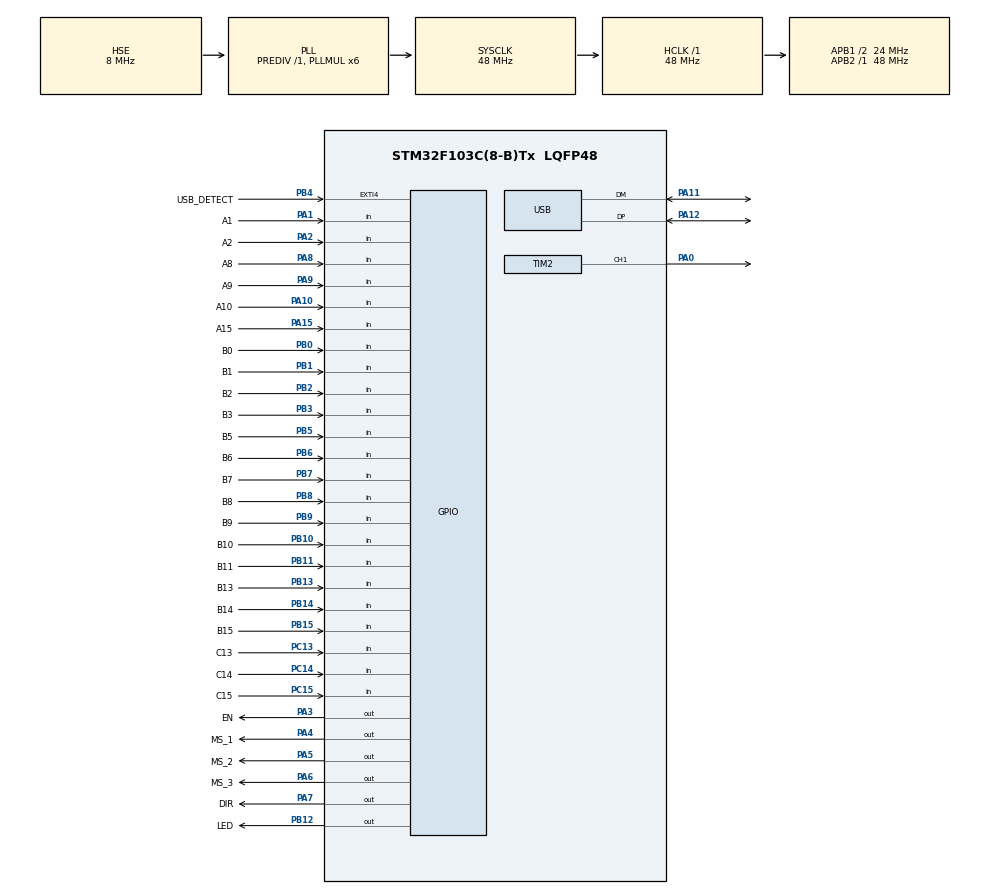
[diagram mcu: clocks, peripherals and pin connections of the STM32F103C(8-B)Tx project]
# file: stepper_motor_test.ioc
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Mcu.Family=STM32F1
Mcu.Name=STM32F103C(8-B)Tx
Mcu.Package=LQFP48
NVIC.EXTI4_IRQn=true\:0\:0\:false\:false\:true\:true\:true\:true
NVIC.PriorityGroup=NVIC_PRIORITYGROUP_4
NVIC.TIM2_IRQn=true\:0\:0\:false\:false\:true\:true\:true\:true
NVIC.USB_LP_CAN1_RX0_IRQn=true\:0\:0\:false\:false\:true\:false\:true\:true
PA0-WKUP.Signal=S_TIM2_CH1_ETR
PA1.GPIO_Label=A1
PA1.GPIO_PuPd=GPIO_PULLDOWN
PA1.Signal=GPIO_Input
PA10.GPIO_Label=A10
PA10.GPIO_PuPd=GPIO_PULLDOWN
PA10.Signal=GPIO_Input
PA11.Mode=Device
PA11.Signal=USB_DM
PA12.Mode=Device
PA12.Signal=USB_DP
PA13.Mode=Serial_Wire
PA13.Signal=SYS_JTMS-SWDIO
PA14.Mode=Serial_Wire
PA14.Signal=SYS_JTCK-SWCLK
PA15.GPIO_Label=A15
PA15.GPIO_PuPd=GPIO_PULLDOWN
PA15.Signal=GPIO_Input
PA2.GPIO_Label=A2
PA2.GPIO_PuPd=GPIO_PULLDOWN
PA2.Signal=GPIO_Input
PA3.GPIO_Label=EN
PA3.PinState=GPIO_PIN_SET
PA3.Signal=GPIO_Output
PA4.GPIO_Label=MS_1
PA4.Signal=GPIO_Output
PA5.GPIO_Label=MS_2
PA5.Signal=GPIO_Output
PA6.GPIO_Label=MS_3
PA6.Signal=GPIO_Output
PA7.GPIO_Label=DIR
PA7.Signal=GPIO_Output
PA8.GPIO_Label=A8
PA8.GPIO_PuPd=GPIO_PULLDOWN
PA8.Signal=GPIO_Input
PA9.GPIO_Label=A9
PA9.GPIO_PuPd=GPIO_PULLDOWN
PA9.Signal=GPIO_Input
PB0.GPIO_Label=B0
PB0.GPIO_PuPd=GPIO_PULLDOWN
PB0.Signal=GPIO_Input
PB1.GPIO_Label=B1
PB1.GPIO_PuPd=GPIO_PULLDOWN
PB1.Signal=GPIO_Input
PB10.GPIO_Label=B10
PB10.GPIO_PuPd=GPIO_PULLDOWN
PB10.Signal=GPIO_Input
PB11.GPIO_Label=B11
PB11.GPIO_PuPd=GPIO_PULLDOWN
PB11.Signal=GPIO_Input
PB12.GPIO_Label=LED
PB12.PinState=GPIO_PIN_SET
PB12.Signal=GPIO_Output
PB13.GPIO_Label=B13
PB13.GPIO_PuPd=GPIO_PULLDOWN
PB13.Signal=GPIO_Input
PB14.GPIO_Label=B14
PB14.GPIO_PuPd=GPIO_PULLDOWN
PB14.Signal=GPIO_Input
PB15.GPIO_Label=B15
PB15.GPIO_PuPd=GPIO_PULLDOWN
PB15.Signal=GPIO_Input
PB2.GPIO_Label=B2
PB2.GPIO_PuPd=GPIO_PULLDOWN
PB2.Signal=GPIO_Input
PB3.GPIO_Label=B3
PB3.GPIO_PuPd=GPIO_PULLDOWN
PB3.Signal=GPIO_Input
PB4.GPIO_Label=USB_DETECT
PB4.GPIO_ModeDefaultEXTI=GPIO_MODE_IT_FALLING
PB4.GPIO_PuPd=GPIO_PULLDOWN
PB4.Signal=GPXTI4
PB5.GPIO_Label=B5
PB5.GPIO_PuPd=GPIO_PULLDOWN
PB5.Signal=GPIO_Input
PB6.GPIO_Label=B6
PB6.GPIO_PuPd=GPIO_PULLDOWN
PB6.Signal=GPIO_Input
PB7.GPIO_Label=B7
PB7.GPIO_PuPd=GPIO_PULLDOWN
PB7.Signal=GPIO_Input
PB8.GPIO_Label=B8
PB8.GPIO_PuPd=GPIO_PULLDOWN
PB8.Signal=GPIO_Input
PB9.GPIO_Label=B9
PB9.GPIO_PuPd=GPIO_PULLDOWN
PB9.Signal=GPIO_Input
PC13-TAMPER-RTC.GPIO_Label=C13
PC13-TAMPER-RTC.GPIO_PuPd=GPIO_PULLDOWN
PC13-TAMPER-RTC.Signal=GPIO_Input
PC14-OSC32_IN.GPIO_Label=C14
PC14-OSC32_IN.GPIO_PuPd=GPIO_PULLDOWN
PC14-OSC32_IN.Signal=GPIO_Input
PC15-OSC32_OUT.GPIO_Label=C15
PC15-OSC32_OUT.GPIO_PuPd=GPIO_PULLDOWN
PC15-OSC32_OUT.Signal=GPIO_Input
PD0-OSC_IN.Mode=HSE-External-Oscillator
PD0-OSC_IN.Signal=RCC_OSC_IN
PD1-OSC_OUT.Mode=HSE-External-Oscillator
PD1-OSC_OUT.Signal=RCC_OSC_OUT
ProjectManager.HeapSize=0x200
ProjectManager.StackSize=0x400
ProjectManager.TargetToolchain=STM32CubeIDE
RCC.AHBFreq_Value=48000000
RCC.APB1CLKDivider=RCC_HCLK_DIV2
RCC.APB1Freq_Value=24000000
RCC.APB1TimFreq_Value=48000000
RCC.APB2Freq_Value=48000000
RCC.APB2TimFreq_Value=48000000
RCC.EnbaleCSS=true
RCC.HCLKFreq_Value=48000000
RCC.PLLMUL=RCC_PLL_MUL6
RCC.PLLSourceVirtual=RCC_PLLSOURCE_HSE
RCC.SYSCLKFreq_VALUE=48000000
RCC.SYSCLKSource=RCC_SYSCLKSOURCE_PLLCLK
RCC.USBFreq_Value=48000000
SH.S_TIM2_CH1_ETR.0=TIM2_CH1,Output Compare1 CH1
TIM2.AutoReloadPreload=TIM_AUTORELOAD_PRELOAD_ENABLE
TIM2.Channel-Output\ Compare1\ CH1=TIM_CHANNEL_1
TIM2.CounterMode=TIM_COUNTERMODE_DOWN
TIM2.OC1Preload=DISABLE
TIM2.OCMode_1=TIM_OCMODE_TOGGLE
TIM2.OCPolarity_1=TIM_OCPOLARITY_LOW
TIM2.Period=1000-1
TIM2.Prescaler=48000-1
TIM2.Pulse-Output\ Compare1\ CH1=0
USB_DEVICE.CLASS_NAME_FS=CUSTOM_HID
USB_DEVICE.PID_CUSTOMHID_FS=22348
USB_DEVICE.PRODUCT_STRING_CUSTOMHID_FS=stepper_motor_test
USB_DEVICE.USBD_CUSTOMHID_OUTREPORT_BUF_SIZE=8
USB_DEVICE.USBD_CUSTOM_HID_REPORT_DESC_SIZE=27
USB_DEVICE.VID=1148
USB_DEVICE.VirtualMode=CustomHid
USB_DEVICE.VirtualModeFS=Custom_Hid_FS
VP_USB_DEVICE_VS_USB_DEVICE_CUSTOM_HID_FS.Mode=CUSTOM_HID_FS
board=custom

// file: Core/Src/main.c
/* USER CODE BEGIN Header */
/**
 ******************************************************************************
 * @file           : main.c
 * @brief          : Main program body
 ******************************************************************************
 * @attention
 *
 * Copyright (c) 2023 STMicroelectronics.
 * All rights reserved.
 *
 * This software is licensed under terms that can be found in the LICENSE file
 * in the root directory of this software component.
 * If no LICENSE file comes with this software, it is provided AS-IS.
 *
 ******************************************************************************
 */
/* USER CODE END Header */
#include "main.h"
#include "usb_device.h"

/* USER CODE BEGIN Includes */
#include "usbd_customhid.h"
#include <stdbool.h>
/* USER CODE END Includes */

TIM_HandleTypeDef htim2;

/* USER CODE BEGIN PV */
extern USBD_HandleTypeDef hUsbDeviceFS;
// Флаг готовности полученных с хоста данных
extern volatile bool isReceived;
// Структура для сохранения reportId и массива данных
extern struct HIDDataPacket data;

// Отслеживаем разрыв соединения по USB
// Флаг устанавливается в true при сбросе напряжения в 0 на разъёме USB
volatile bool isDisconnected = false;
volatile uint32_t time_exti4 = 0;

// Количество шагов двигателя
volatile int16_t stepsCount = 400;
// Флаг завершения одного оборота двигателя
volatile bool isTurnComplete = false;
uint8_t sendReportId5[5] = { 5 };
// Массив из значения тактовой частоты
uint8_t sendReportId7[5] = { 7 };
/* USER CODE END PV */

void SystemClock_Config(void);
static void MX_GPIO_Init(void);
static void MX_TIM2_Init(void);
/* USER CODE BEGIN PFP */
static void parseReportId(void);
static void isDisconnectUSB(void);
/* USER CODE END PFP */

int main(void)
{

  /* MCU Configuration--------------------------------------------------------*/

  /* Reset of all peripherals, Initializes the Flash interface and the Systick. */
  HAL_Init();

  /* Configure the system clock */
  SystemClock_Config();

  /* Initialize all configured peripherals */
  MX_GPIO_Init();
  MX_TIM2_Init();
  MX_USB_DEVICE_Init();
  /* USER CODE BEGIN 2 */
  // Получаем значение тактовой частоты
  uint32_t sysclk = SystemCoreClock;
  // Формируем массив из значения тактовой частоты
  sendReportId7[1] = sysclk >> 24 & 0xFF;
  sendReportId7[2] = sysclk >> 16 & 0xFF;
  sendReportId7[3] = sysclk >> 8 & 0xFF;
  sendReportId7[4] = sysclk & 0xFF;
  /* USER CODE END 2 */

  /* Infinite loop */
  /* USER CODE BEGIN WHILE */
  while (1) {
    if (isReceived) {
      // С хоста получили данные, обрабатываем в зависимости от переданного ReportId
      parseReportId();
    }

    if (isTurnComplete) {
      isTurnComplete = false;
      // Один оборот завершён, выключаем таймер
      HAL_TIM_OC_Stop_IT(&htim2, TIM_CHANNEL_1);
      // Выключаем драйвер A4988, установив на выводе EN единицу
      HAL_GPIO_WritePin(EN_GPIO_Port, EN_Pin, GPIO_PIN_SET);
      // Отправляем на хост уведомление
      USBD_CUSTOM_HID_SendReport(&hUsbDeviceFS, sendReportId5, 5);
    }

    if (isDisconnected && (HAL_GetTick() - time_exti4) > 200) {
      // Произошла потеря питания линии USB
      isDisconnectUSB();
    }
    /* USER CODE END WHILE */

  }
}

void SystemClock_Config(void)
{
  RCC_OscInitTypeDef RCC_OscInitStruct = { 0 };
  RCC_ClkInitTypeDef RCC_ClkInitStruct = { 0 };
  RCC_PeriphCLKInitTypeDef PeriphClkInit = { 0 };

  /** Initializes the RCC Oscillators according to the specified parameters
   * in the RCC_OscInitTypeDef structure.
   */
  RCC_OscInitStruct.OscillatorType = RCC_OSCILLATORTYPE_HSE;
  RCC_OscInitStruct.HSEState = RCC_HSE_ON;
  RCC_OscInitStruct.HSEPredivValue = RCC_HSE_PREDIV_DIV1;
  RCC_OscInitStruct.HSIState = RCC_HSI_ON;
  RCC_OscInitStruct.PLL.PLLState = RCC_PLL_ON;
  RCC_OscInitStruct.PLL.PLLSource = RCC_PLLSOURCE_HSE;
  RCC_OscInitStruct.PLL.PLLMUL = RCC_PLL_MUL6;
  if (HAL_RCC_OscConfig(&RCC_OscInitStruct) != HAL_OK) {
    Error_Handler();
  }

  /** Initializes the CPU, AHB and APB buses clocks
   */
  RCC_ClkInitStruct.ClockType = RCC_CLOCKTYPE_HCLK | RCC_CLOCKTYPE_SYSCLK | RCC_CLOCKTYPE_PCLK1 | RCC_CLOCKTYPE_PCLK2;
  RCC_ClkInitStruct.SYSCLKSource = RCC_SYSCLKSOURCE_PLLCLK;
  RCC_ClkInitStruct.AHBCLKDivider = RCC_SYSCLK_DIV1;
  RCC_ClkInitStruct.APB1CLKDivider = RCC_HCLK_DIV2;
  RCC_ClkInitStruct.APB2CLKDivider = RCC_HCLK_DIV1;

  if (HAL_RCC_ClockConfig(&RCC_ClkInitStruct, FLASH_LATENCY_1) != HAL_OK) {
    Error_Handler();
  }
  PeriphClkInit.PeriphClockSelection = RCC_PERIPHCLK_USB;
  PeriphClkInit.UsbClockSelection = RCC_USBCLKSOURCE_PLL;
  if (HAL_RCCEx_PeriphCLKConfig(&PeriphClkInit) != HAL_OK) {
    Error_Handler();
  }

  /** Enables the Clock Security System
   */
  HAL_RCC_EnableCSS();
}

static void MX_TIM2_Init(void)
{

  TIM_MasterConfigTypeDef sMasterConfig = { 0 };
  TIM_OC_InitTypeDef sConfigOC = { 0 };

  htim2.Instance = TIM2;
  htim2.Init.Prescaler = 48000 - 1;
  htim2.Init.CounterMode = TIM_COUNTERMODE_DOWN;
  htim2.Init.Period = 1000 - 1;
  htim2.Init.ClockDivision = TIM_CLOCKDIVISION_DIV1;
  htim2.Init.AutoReloadPreload = TIM_AUTORELOAD_PRELOAD_ENABLE;
  if (HAL_TIM_OC_Init(&htim2) != HAL_OK) {
    Error_Handler();
  }
  sMasterConfig.MasterOutputTrigger = TIM_TRGO_RESET;
  sMasterConfig.MasterSlaveMode = TIM_MASTERSLAVEMODE_DISABLE;
  if (HAL_TIMEx_MasterConfigSynchronization(&htim2, &sMasterConfig) != HAL_OK) {
    Error_Handler();
  }
  sConfigOC.OCMode = TIM_OCMODE_TOGGLE;
  sConfigOC.Pulse = 0;
  sConfigOC.OCPolarity = TIM_OCPOLARITY_LOW;
  sConfigOC.OCFastMode = TIM_OCFAST_DISABLE;
  if (HAL_TIM_OC_ConfigChannel(&htim2, &sConfigOC, TIM_CHANNEL_1) != HAL_OK) {
    Error_Handler();
  }
  HAL_TIM_MspPostInit(&htim2);

}

static void MX_GPIO_Init(void)
{
  GPIO_InitTypeDef GPIO_InitStruct = { 0 };

  /* GPIO Ports Clock Enable */
  __HAL_RCC_GPIOC_CLK_ENABLE();
  __HAL_RCC_GPIOD_CLK_ENABLE();
  __HAL_RCC_GPIOA_CLK_ENABLE();
  __HAL_RCC_GPIOB_CLK_ENABLE();

  /*Configure GPIO pin Output Level */
  HAL_GPIO_WritePin(EN_GPIO_Port, EN_Pin, GPIO_PIN_SET);

  /*Configure GPIO pin Output Level */
  HAL_GPIO_WritePin(GPIOA, MS_1_Pin | MS_2_Pin | MS_3_Pin | DIR_Pin, GPIO_PIN_RESET);

  /*Configure GPIO pin Output Level */
  HAL_GPIO_WritePin(LED_GPIO_Port, LED_Pin, GPIO_PIN_SET);

  /*Configure GPIO pins : C13_Pin C14_Pin C15_Pin */
  GPIO_InitStruct.Pin = C13_Pin | C14_Pin | C15_Pin;
  GPIO_InitStruct.Mode = GPIO_MODE_INPUT;
  GPIO_InitStruct.Pull = GPIO_PULLDOWN;
  HAL_GPIO_Init(GPIOC, &GPIO_InitStruct);

  /*Configure GPIO pins : A1_Pin A2_Pin A8_Pin A9_Pin
   A10_Pin A15_Pin */
  GPIO_InitStruct.Pin = A1_Pin | A2_Pin | A8_Pin | A9_Pin | A10_Pin | A15_Pin;
  GPIO_InitStruct.Mode = GPIO_MODE_INPUT;
  GPIO_InitStruct.Pull = GPIO_PULLDOWN;
  HAL_GPIO_Init(GPIOA, &GPIO_InitStruct);

  /*Configure GPIO pins : EN_Pin MS_1_Pin MS_2_Pin MS_3_Pin
   DIR_Pin */
  GPIO_InitStruct.Pin = EN_Pin | MS_1_Pin | MS_2_Pin | MS_3_Pin | DIR_Pin;
  GPIO_InitStruct.Mode = GPIO_MODE_OUTPUT_PP;
  GPIO_InitStruct.Pull = GPIO_NOPULL;
  GPIO_InitStruct.Speed = GPIO_SPEED_FREQ_LOW;
  HAL_GPIO_Init(GPIOA, &GPIO_InitStruct);

  /*Configure GPIO pins : B0_Pin B1_Pin B2_Pin B10_Pin
   B11_Pin B13_Pin B14_Pin B15_Pin
   B3_Pin B5_Pin B6_Pin B7_Pin
   B8_Pin B9_Pin */
  GPIO_InitStruct.Pin = B0_Pin | B1_Pin | B2_Pin | B10_Pin | B11_Pin | B13_Pin | B14_Pin | B15_Pin | B3_Pin | B5_Pin | B6_Pin | B7_Pin | B8_Pin | B9_Pin;
  GPIO_InitStruct.Mode = GPIO_MODE_INPUT;
  GPIO_InitStruct.Pull = GPIO_PULLDOWN;
  HAL_GPIO_Init(GPIOB, &GPIO_InitStruct);

  /*Configure GPIO pin : LED_Pin */
  GPIO_InitStruct.Pin = LED_Pin;
  GPIO_InitStruct.Mode = GPIO_MODE_OUTPUT_PP;
  GPIO_InitStruct.Pull = GPIO_NOPULL;
  GPIO_InitStruct.Speed = GPIO_SPEED_FREQ_LOW;
  HAL_GPIO_Init(LED_GPIO_Port, &GPIO_InitStruct);

  /*Configure GPIO pin : USB_DETECT_Pin */
  GPIO_InitStruct.Pin = USB_DETECT_Pin;
  GPIO_InitStruct.Mode = GPIO_MODE_IT_FALLING;
  GPIO_InitStruct.Pull = GPIO_PULLDOWN;
  HAL_GPIO_Init(USB_DETECT_GPIO_Port, &GPIO_InitStruct);

  /* EXTI interrupt init*/
  HAL_NVIC_SetPriority(EXTI4_IRQn, 0, 0);
  HAL_NVIC_EnableIRQ(EXTI4_IRQn);

  /* USER CODE BEGIN MX_GPIO_Init_2 */
  // Устанавливаем пин DP как выход
  GPIO_InitStruct.Pin = GPIO_PIN_12;
  GPIO_InitStruct.Mode = GPIO_MODE_OUTPUT_PP;
  GPIO_InitStruct.Speed = GPIO_SPEED_FREQ_LOW;
  HAL_GPIO_Init(GPIOA, &GPIO_InitStruct);
  // Подтягиваем пин DP к GND
  HAL_GPIO_WritePin(GPIOA, GPIO_PIN_12, GPIO_PIN_RESET);
  // Задержка для завершения процессов на хосте
  for (uint16_t i = 0; i < 1000; i++);

  // Переинициализируем пин DP для работы с USB
  GPIO_InitStruct.Mode = GPIO_MODE_INPUT;
  GPIO_InitStruct.Pull = GPIO_NOPULL;
  HAL_GPIO_Init(GPIOA, &GPIO_InitStruct);
  // Задержка для завершения процессов на хосте
  for (uint16_t i = 0; i < 1000; i++);

  /* USER CODE END MX_GPIO_Init_2 */
}

/* USER CODE BEGIN 4 */
void HAL_TIM_OC_DelayElapsedCallback(TIM_HandleTypeDef *htim)
{
  // Сначала выполним проверку, может быть другой таймер или канал
  if (htim->Instance == TIM2 && htim->Channel == HAL_TIM_ACTIVE_CHANNEL_1) {
    if (stepsCount-- < 0) {
      // Один оборот заверён
      isTurnComplete = true;
    }
  }
}

void HAL_GPIO_EXTI_Callback(uint16_t GPIO_Pin)
{
  if (GPIO_Pin == USB_DETECT_Pin) {
    // Сразу же отключаем внешнее прерывания EXTI4
    HAL_NVIC_DisableIRQ(EXTI4_IRQn);
    // Устанавливаем флаг и сохраняем текущее время
    isDisconnected = true;
    time_exti4 = HAL_GetTick();
  }
}

static void parseReportId(void)
{
  isReceived = false;

  switch (data.reportId) {
    case 1:
      // Команда на остановку двигателя
      if ((&htim2)->ChannelState[0] == HAL_TIM_CHANNEL_STATE_BUSY) {
        // TIM_CHANNEL_1 работает, останавливаем его

        // Проверка наличия обработчика прерывания для таймера
        if (__HAL_TIM_GET_IT_SOURCE(&htim2, TIM_IT_CC1) == SET) {
          // Обработчик прерывания установлен, таймер работает в режиме с прерыванием
          HAL_TIM_OC_Stop_IT(&htim2, TIM_CHANNEL_1);
        } else {
          // Обработчик прерывания не установлен, таймер работает без прерывания
          HAL_TIM_OC_Stop(&htim2, TIM_CHANNEL_1);
        }

        // Выключаем драйвер A4988, установив на выводе EN единицу
        HAL_GPIO_WritePin(EN_GPIO_Port, EN_Pin, GPIO_PIN_SET);
      }
      break;
    case 2:
      // Двигатель вращается, изменяем значение регистра ARR
      TIM2->ARR = (data.dataToReceive[0] << 8 | data.dataToReceive[1]);
      break;
    case 3:
      // Один оборот вала двигателя
      // Для этого режима нам необходимо установить количество шагов двигателя
      // на основании этого значения мы будем отслеживать один оборот вала
      // Дополнительно умножаем количество шагов двигателя на 2, т.к. ARR составляет половину периода
      switch (data.dataToReceive[2]) {
        case 0:
          stepsCount = 400 << 1;
          break;
        case 1:
          stepsCount = 200 << 1;
          break;
        case 2:
          stepsCount = 100 << 1;
          break;
        case 3:
          stepsCount = 64 << 1;
          break;
        case 4:
          stepsCount = 48 << 1;
          break;
      }
    case 4:
      // Непрерывное вращение
      // Устанавливаем микрошаговый режим
      switch (data.dataToReceive[0]) {
        case 0:
          // Полный шаг
          HAL_GPIO_WritePin(GPIOA, MS_1_Pin | MS_2_Pin | MS_3_Pin, GPIO_PIN_RESET);
          break;
        case 1:
          // 1/2 шага
          HAL_GPIO_WritePin(GPIOA, MS_1_Pin, GPIO_PIN_SET);
          HAL_GPIO_WritePin(GPIOA, MS_2_Pin | MS_3_Pin, GPIO_PIN_RESET);
          // Если выбран режим одного оборота, количество шагов умножаем на 2
          if (data.reportId == 3)
            stepsCount <<= 1;
          break;
        case 2:
          // 1/4 шага
          HAL_GPIO_WritePin(GPIOA, MS_2_Pin, GPIO_PIN_SET);
          HAL_GPIO_WritePin(GPIOA, MS_1_Pin | MS_3_Pin, GPIO_PIN_RESET);
          // Если выбран режим одного оборота, количество шагов умножаем на 4
          if (data.reportId == 3)
            stepsCount <<= 2;
          break;
        case 3:
          // 1/8 шага
          HAL_GPIO_WritePin(GPIOA, MS_1_Pin | MS_2_Pin, GPIO_PIN_SET);
          HAL_GPIO_WritePin(GPIOA, MS_3_Pin, GPIO_PIN_RESET);
          // Если выбран режим одного оборота, количество шагов умножаем на 8
          if (data.reportId == 3)
            stepsCount <<= 3;
          break;
        case 4:
          // 1/16 шага
          HAL_GPIO_WritePin(GPIOA, MS_1_Pin | MS_2_Pin | MS_3_Pin, GPIO_PIN_SET);
          // Если выбран режим одного оборота количество шагов умножаем на 16
          if (data.reportId == 3)
            stepsCount <<= 4;
          break;
      }
      // Устанавливаем направление вращения
      switch (data.dataToReceive[1]) {
        case 0:
          HAL_GPIO_WritePin(GPIOA, DIR_Pin, GPIO_PIN_RESET);
          break;
        case 1:
          HAL_GPIO_WritePin(GPIOA, DIR_Pin, GPIO_PIN_SET);
          break;
      }

      TIM2->PSC = (data.dataToReceive[3] << 8 | data.dataToReceive[4]);
      TIM2->ARR = (data.dataToReceive[5] << 8 | data.dataToReceive[6]);
      // Включаем драйвер A4988, сбросив вывод PA3 в ноль
      HAL_GPIO_WritePin(EN_GPIO_Port, EN_Pin, GPIO_PIN_RESET);

      if ((&htim2)->ChannelState[0] == HAL_TIM_CHANNEL_STATE_READY) {
        if (data.reportId == 3) {
          // Если выбран "Один оборот" запускаем таймер с прерыванием, чтобы
          // подсчитать количество шагов
          HAL_TIM_OC_Start_IT(&htim2, TIM_CHANNEL_1);
        } else if (data.reportId == 4) {
          HAL_TIM_OC_Start(&htim2, TIM_CHANNEL_1);
        }
      }
      break;
    case 6:
      // Запрос на получение тактовой частоты
      USBD_CUSTOM_HID_SendReport(&hUsbDeviceFS, sendReportId7, 5);
      break;
  }
}

static void isDisconnectUSB(void)
{
  // Ожидаем 200 мс для повторной проверки питания линии USB
  if (HAL_GPIO_ReadPin(USB_DETECT_GPIO_Port, USB_DETECT_Pin) == GPIO_PIN_RESET) {
    // На линии USB отсутствует напряжние
    // Сбрасываем флаг
    isDisconnected = false;

    if ((&htim2)->ChannelState[0] == HAL_TIM_CHANNEL_STATE_BUSY) {
      // TIM_CHANNEL_1 работает, останавливаем его
      HAL_TIM_OC_Stop(&htim2, TIM_CHANNEL_1);
      // Выключаем драйвер A4988, установив на выводе EN единицу
      HAL_GPIO_WritePin(EN_GPIO_Port, EN_Pin, GPIO_PIN_SET);
    }
  }
  // Запускаем проверку для нового ослеживания разрыва соединения
  // При помощи макроса очищаем бит EXTI_PR
  __HAL_GPIO_EXTI_CLEAR_IT(USB_DETECT_Pin);
  // Очищаем бит NVIC_ICPRx
  NVIC_ClearPendingIRQ(EXTI4_IRQn);
  // Включаем внешнее прерывание
  HAL_NVIC_EnableIRQ(EXTI4_IRQn);
}
/* USER CODE END 4 */

void Error_Handler(void)
{
  __disable_irq();
  while (1) {
  }
}
